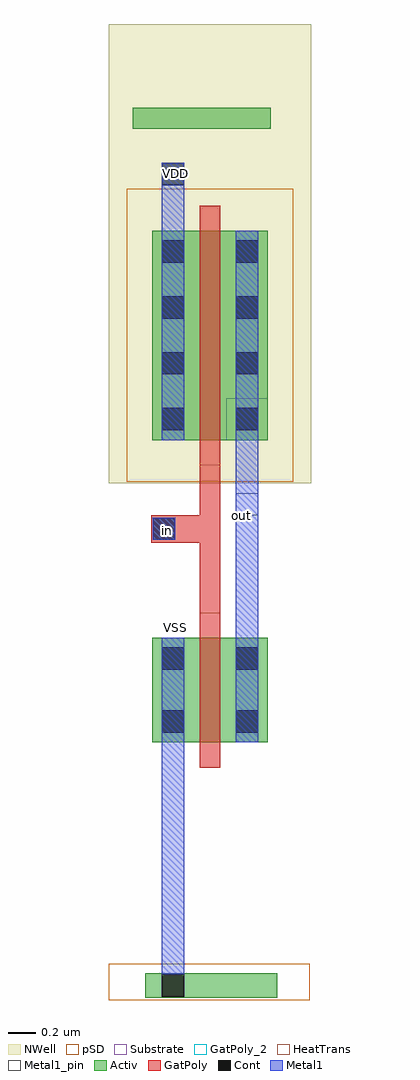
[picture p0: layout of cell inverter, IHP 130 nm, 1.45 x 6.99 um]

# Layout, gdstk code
import gdstk
lib = gdstk.Library(unit=1e-6, precision=5e-09)
def R(c, l, rs):  # rectangles x0, y0, x1, y1
    for r in rs: c.add(gdstk.rectangle(r[:2], r[2:], *l))
def A(c, l, x, y, w, h, nx, ny, dx, dy):  # array of equal rectangles
    R(c, l, [(x+i*dx, y+j*dy, x+i*dx+w, y+j*dy+h) for i in range(nx) for j in range(ny)])
Activ = (1, 0)
GatPoly = (5, 0)
GatPoly_2 = (5, 2)
Cont = (6, 0)
Metal1 = (8, 0)
Metal1_pin = (8, 2)
pSD = (14, 0)
NWell = (31, 0)
Substrate = (40, 0)
HeatTrans = (51, 0)

nmos = lib.new_cell('nmos')
R(nmos, Activ, [(0,0,0.3,0.3), (0,0,0.83,0.75), (0.53,0,0.83,0.3)])
R(nmos, GatPoly, [(0.34,-0.18,0.49,0.93)])
R(nmos, GatPoly_2, [(0.34,-0.18,0.49,0.93)])
R(nmos, Cont, [(0.07,0.07,0.23,0.23), (0.6,0.07,0.76,0.23), (0.07,0.52,0.23,0.68), (0.6,0.52,0.76,0.68)])
R(nmos, Metal1, [(0.07,0,0.23,0.75), (0.6,0,0.76,0.75)])
R(nmos, Metal1_pin, [(0.07,0,0.23,0.75), (0.6,0,0.76,0.75)])
R(nmos, HeatTrans, [(0.34,-0.18,0.49,0.93)])
nmos.add(gdstk.Label('nmos', (0.415,0.375), layer=63, texttype=0))
nmos.add(gdstk.Label('nmos', (0.415,0.375), layer=51, texttype=0))

pmos_1 = lib.new_cell('pmos$1')
R(pmos_1, Activ, [(0,0,0.3,0.3), (0,0,0.83,1.5), (0.53,0,0.83,0.3)])
R(pmos_1, GatPoly, [(0.34,-0.18,0.49,1.68), (0.34,-0.18,0.49,1.68)])
A(pmos_1, Cont, 0.07, 0.07, 0.16, 0.16, 1, 4, 0, 0.4)
A(pmos_1, Cont, 0.6, 0.07, 0.16, 0.16, 1, 4, 0, 0.4)
R(pmos_1, Metal1, [(0.07,0,0.23,1.5), (0.07,0,0.23,1.5), (0.6,0,0.76,1.5), (0.6,0,0.76,1.5)])
R(pmos_1, pSD, [(-0.18,-0.3,1.01,1.8)])
R(pmos_1, NWell, [(-0.31,-0.31,1.14,1.81)])
R(pmos_1, Substrate, [(0.53,0,0.83,0.3)])
R(pmos_1, HeatTrans, [(0.34,-0.18,0.49,1.68)])
pmos_1.add(gdstk.Label('pmos', (0.415,0.75), layer=63, texttype=0))
pmos_1.add(gdstk.Label('pmos', (0.415,0.75), layer=51, texttype=0))

inverter = lib.new_cell('inverter')
R(inverter, Activ, [(-0.48,-2.985,0.465,-2.81), (-0.57,3.24,0.42,3.39)])
R(inverter, GatPoly, [(-0.09,-0.225,0.06,0.83), (-0.435,0.275,-0.135,0.47), (-0.135,0.275,-0.09,0.47)])
R(inverter, Cont, [(-0.36,-2.975,-0.2,-2.815), (-0.425,0.295,-0.265,0.455), (-0.36,2.835,-0.2,2.995)])
R(inverter, Metal1, [(-0.36,-2.815,-0.2,-0.93), (0.17,-0.635,0.33,1.245), (-0.425,0.295,-0.265,0.455), (-0.36,2.465,-0.2,2.995)])
R(inverter, Metal1_pin, [(-0.425,0.295,-0.265,0.455), (0.17,0.47,0.33,0.63), (-0.36,2.835,-0.2,2.995)])
R(inverter, pSD, [(-0.74,-3,0.7,-2.74)])
R(inverter, NWell, [(-0.74,2.82,0.71,3.99)])
inverter.add(gdstk.Reference(nmos, (-0.43,-1.155)))
inverter.add(gdstk.Reference(pmos_1, (-0.43,1.01)))
inverter.add(gdstk.Label('out', (0.21,0.47), layer=8, texttype=2))
inverter.add(gdstk.Label('VSS', (-0.26,-0.335), layer=8, texttype=2))
inverter.add(gdstk.Label('VDD', (-0.26,2.92), layer=8, texttype=2))
inverter.add(gdstk.Label('in', (-0.32,0.36), layer=8, texttype=2))

lib.write_gds('inverter.gds')
